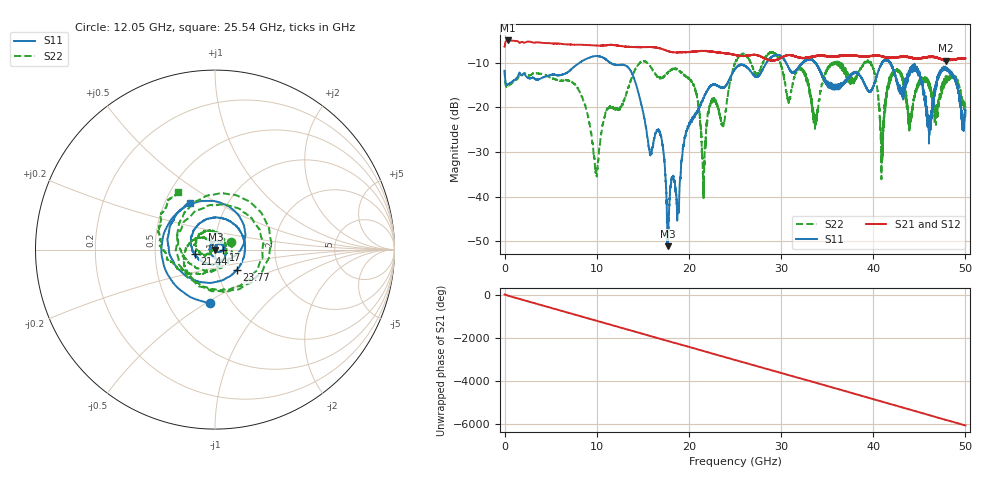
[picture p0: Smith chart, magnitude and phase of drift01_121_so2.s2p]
!Created with skrf (http://scikit-rf.org).
# Hz S RI R 50.0
!freq ReS11 ImS11 ReS21 ImS21 ReS12 ImS12 ReS22 ImS22
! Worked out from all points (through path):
!   10001 points, 300 kHz to 50 GHz, reference 50 ohm
!   highest |S21| = -5.05 dB at 325.3 MHz (marker M1); lowest = -9.6 dB at 47.87 GHz (marker M2)
!   group delay of S21, straight-line fit = 336 ps
!   lowest |S11| = -51.1 dB at 17.73 GHz (marker M3), VSWR 1.01, Z = 50.3 + j0.0278 ohm
!   |S11| at or under -10 dB: start of sweep to 8.164 GHz; 11.44 GHz to 28.42 GHz (16.98 GHz wide, 85.2 % of centre); 41.82 GHz to end of sweep (the widest 3 of 11)
!   |S22| runs from -40.3 to -7.6 dB; largest |S21 - S12| = 0.016
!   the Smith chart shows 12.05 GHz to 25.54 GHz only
!   S11 on the Smith chart (normalised r, x): 12.05 GHz: 0.80, -0.52; 17 GHz: 1.10, +0.00; 21.44 GHz: 0.79, -0.04; 23.77 GHz: 1.24, -0.29; 25.54 GHz: 0.67, +0.38
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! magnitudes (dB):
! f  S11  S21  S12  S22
! 300 kHz  -11.8  -6.5  -6.5  -11.7
! 325.3 MHz  -15.0  -5.1  -5.1  -15.4
! 8.335 GHz  -9.8  -6.0  -6.0  -17.5
! 9.94 GHz  -8.5  -6.2  -6.2  -34.5
! 12.05 GHz  -10.5  -6.1  -6.1  -20.2
! 16.67 GHz  -25.0  -6.7  -6.7  -13.3
! 17 GHz  -26.7  -6.9  -6.9  -13.6
! 17.73 GHz  -51.1  -7.4  -7.4  -12.1
! 20.5 GHz  -22.3  -7.5  -7.5  -15.0
! 21.44 GHz  -18.7  -7.4  -7.4  -30.5
! 22.47 GHz  -15.1  -7.5  -7.6  -19.1
! 23.77 GHz  -15.6  -7.9  -7.9  -23.6
! 25 GHz  -11.4  -8.3  -8.3  -10.4
! 25.54 GHz  -10.5  -8.5  -8.5  -8.4
! 33.34 GHz  -9.4  -8.7  -8.7  -19.4
! 39.48 GHz  -16.3  -8.6  -8.5  -9.9
! 40.95 GHz  -10.1  -8.6  -8.6  -29.4
! 41.67 GHz  -9.5  -8.9  -8.9  -14.4
! 44.72 GHz  -11.5  -9.1  -9.1  -15.7
! 46.11 GHz  -23.0  -8.7  -8.7  -14.7
! 47.87 GHz  -11.5  -9.6  -9.5  -13.0
! 50 GHz  -21.9  -9.1  -9.1  -20.0
